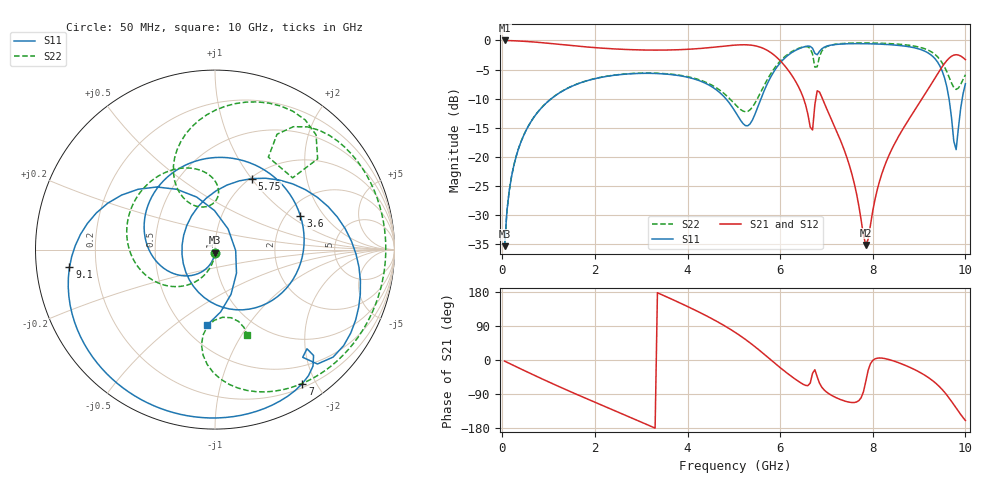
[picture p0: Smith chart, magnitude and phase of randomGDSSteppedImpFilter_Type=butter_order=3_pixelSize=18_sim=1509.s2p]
! freq	dB(S11)	phase(S11)	dB(S12)	phase(S12)
!  dB(S21)	phase(S21)	dB(S22)	phase(S22)
!S-par simulation data
#  GHz  S  DB  R 50
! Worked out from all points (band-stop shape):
!   200 points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, 50 MHz to 10 GHz, reference 50 ohm
!   highest |S21| = 0.00 dB at 50 MHz (marker M1); lowest = -35.1 dB at 7.85 GHz (marker M2)
!   |S21| within 3 dB of the highest: start of sweep to 5.939 GHz; 9.654 GHz to 9.957 GHz (302.4 MHz wide, 3.08 % of centre)
!   lowest |S11| = -35.3 dB at 50 MHz (marker M3), VSWR 1.03, Z = 49.9 - j1.7 ohm
!   |S11| at or under -10 dB: start of sweep to 1.058 GHz; 4.826 GHz to 5.586 GHz (760.2 MHz wide, 14.6 % of centre); 9.646 GHz to 9.932 GHz (286.1 MHz wide, 2.92 % of centre)
!   |S22| runs from -35.3 to -0.4 dB; largest |S21 - S12| = 0
!   S11 on the Smith chart (normalised r, x): 50 MHz: 1.00, -0.03; 3.6 GHz: 2.38, +1.21; 5.75 GHz: 1.02, +1.01; 7 GHz: 0.25, -1.82; 9.1 GHz: 0.10, -0.06; 10 GHz: 0.64, -0.66
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0.05  -35.33 -93.4  -0.00 -3.0  -0.00 -3.0  -35.32 -92.3
0.2  -23.35 -104.3  -0.04 -11.9  -0.04 -11.9  -23.33 -99.9
0.5  -15.66 -125.4  -0.16 -29.4  -0.16 -29.4  -15.64 -114.4
1.75  -7.12 150.1  -1.07 -98.3  -1.07 -98.3  -7.10 -168.0
2.6  -5.82 92.7  -1.53 -142.8  -1.53 -142.8  -5.79 160.8
3.4  -5.70 36.2  -1.66 174.8  -1.66 174.8  -5.65 132.9
3.6  -5.82 21.6  -1.64 163.8  -1.64 163.8  -5.76 125.9
4.5  -7.83 -50.6  -1.22 110.7  -1.22 110.7  -7.57 94.6
5.05  -12.49 -120.4  -0.79 71.2  -0.79 71.2  -11.16 88.5
5.35  -14.33 155.3  -0.79 45.2  -0.79 45.2  -11.92 110.2
5.75  -7.00 62.3  -1.84 5.5  -1.84 5.5  -6.34 118.6
6.25  -2.09 -1.8  -5.97 -43.8  -5.97 -43.8  -1.93 85.8
6.7  -1.36 -48.2  -15.38 -35.0  -15.38 -35.0  -2.35 41.5
6.8  -2.46 -47.2  -8.64 -44.5  -8.64 -44.5  -4.51 60.0
7  -1.00 -56.9  -11.63 -84.4  -11.63 -84.4  -1.08 48.8
7.5  -0.56 -86.5  -21.59 -111.5  -21.59 -111.5  -0.46 17.6
7.85  -0.56 -104.2  -35.12 -56.1  -35.12 -56.1  -0.43 -0.9
8.35  -0.72 -128.6  -19.73 1.2  -19.73 1.2  -0.54 -26.3
9.1  -1.76 -173.1  -9.57 -38.4  -9.57 -38.4  -1.37 -67.5
9.55  -6.44 132.9  -3.95 -85.1  -3.95 -85.1  -4.56 -96.4
9.8  -18.75 -2.8  -2.45 -126.8  -2.45 -126.8  -8.42 -83.6
10  -7.43 -96.1  -3.30 -159.5  -3.30 -159.5  -5.89 -69.4
